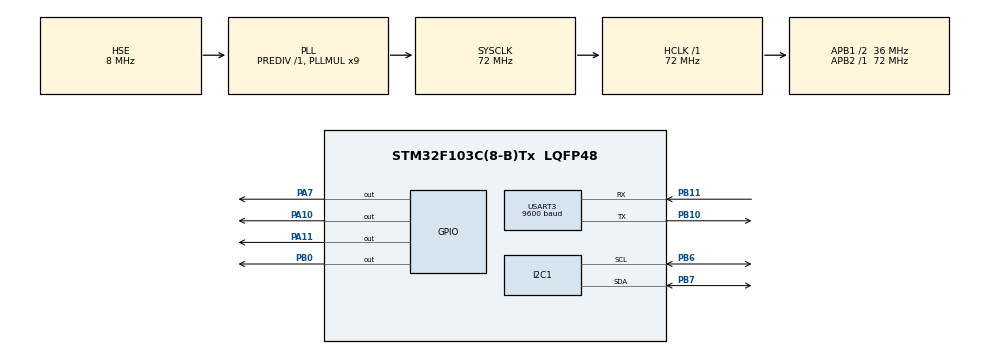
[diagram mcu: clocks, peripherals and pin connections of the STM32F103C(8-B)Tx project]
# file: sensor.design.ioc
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Dma.Request0=USART3_RX
Dma.Request1=USART3_TX
Dma.USART3_RX.0.Direction=DMA_PERIPH_TO_MEMORY
Dma.USART3_RX.0.Instance=DMA1_Channel3
Dma.USART3_RX.0.MemDataAlignment=DMA_MDATAALIGN_BYTE
Dma.USART3_RX.0.MemInc=DMA_MINC_ENABLE
Dma.USART3_RX.0.Mode=DMA_NORMAL
Dma.USART3_RX.0.PeriphDataAlignment=DMA_PDATAALIGN_BYTE
Dma.USART3_RX.0.PeriphInc=DMA_PINC_DISABLE
Dma.USART3_RX.0.Priority=DMA_PRIORITY_LOW
Dma.USART3_TX.1.Direction=DMA_MEMORY_TO_PERIPH
Dma.USART3_TX.1.Instance=DMA1_Channel2
Dma.USART3_TX.1.MemDataAlignment=DMA_MDATAALIGN_BYTE
Dma.USART3_TX.1.MemInc=DMA_MINC_ENABLE
Dma.USART3_TX.1.Mode=DMA_NORMAL
Dma.USART3_TX.1.PeriphDataAlignment=DMA_PDATAALIGN_BYTE
Dma.USART3_TX.1.PeriphInc=DMA_PINC_DISABLE
Dma.USART3_TX.1.Priority=DMA_PRIORITY_LOW
I2C1.I2C_Mode=I2C_Fast
Mcu.Family=STM32F1
Mcu.Name=STM32F103C(8-B)Tx
Mcu.Package=LQFP48
NVIC.DMA1_Channel2_IRQn=true\:0\:0\:false\:false\:true\:false\:true\:true
NVIC.DMA1_Channel3_IRQn=true\:0\:0\:false\:false\:true\:false\:true\:true
NVIC.PriorityGroup=NVIC_PRIORITYGROUP_4
NVIC.RTC_Alarm_IRQn=true\:0\:0\:false\:false\:true\:true\:true\:true
NVIC.USART3_IRQn=true\:0\:0\:false\:false\:true\:true\:true\:true
PA10.GPIO_ModeDefaultOutputPP=GPIO_MODE_OUTPUT_OD
PA10.GPIO_PuPd=GPIO_PULLUP
PA10.Signal=GPIO_Output
PA11.GPIO_ModeDefaultOutputPP=GPIO_MODE_OUTPUT_PP
PA11.GPIO_PuPd=GPIO_NOPULL
PA11.Signal=GPIO_Output
PA13.Mode=Serial_Wire
PA13.Signal=SYS_JTMS-SWDIO
PA14.Mode=Serial_Wire
PA14.Signal=SYS_JTCK-SWCLK
PA7.GPIO_ModeDefaultOutputPP=GPIO_MODE_OUTPUT_PP
PA7.Signal=GPIO_Output
PB0.GPIO_ModeDefaultOutputPP=GPIO_MODE_OUTPUT_PP
PB0.Signal=GPIO_Output
PB10.Mode=Asynchronous
PB10.Signal=USART3_TX
PB11.Mode=Asynchronous
PB11.Signal=USART3_RX
PB6.Mode=I2C
PB6.Signal=I2C1_SCL
PB7.Mode=I2C
PB7.Signal=I2C1_SDA
PC14-OSC32_IN.Mode=LSE-External-Oscillator
PC14-OSC32_IN.Signal=RCC_OSC32_IN
PC15-OSC32_OUT.Mode=LSE-External-Oscillator
PC15-OSC32_OUT.Signal=RCC_OSC32_OUT
PD0-OSC_IN.Mode=HSE-External-Oscillator
PD0-OSC_IN.Signal=RCC_OSC_IN
PD1-OSC_OUT.Mode=HSE-External-Oscillator
PD1-OSC_OUT.Signal=RCC_OSC_OUT
ProjectManager.HeapSize=0x200
ProjectManager.StackSize=0x400
ProjectManager.TargetToolchain=CMake
RCC.AHBFreq_Value=72000000
RCC.APB1CLKDivider=RCC_HCLK_DIV2
RCC.APB1Freq_Value=36000000
RCC.APB1TimFreq_Value=72000000
RCC.APB2Freq_Value=72000000
RCC.APB2TimFreq_Value=72000000
RCC.HCLKFreq_Value=72000000
RCC.PLLMUL=RCC_PLL_MUL9
RCC.PLLSourceVirtual=RCC_PLLSOURCE_HSE
RCC.RTCClockSelection=RCC_RTCCLKSOURCE_LSE
RCC.SYSCLKFreq_VALUE=72000000
RCC.SYSCLKSource=RCC_SYSCLKSOURCE_PLLCLK
RCC.USBFreq_Value=72000000
RTC.OutPut=RTC_OUTPUTSOURCE_ALARM
USART3.BaudRate=9600
USART3.VirtualMode=VM_ASYNC
VP_RTC_VS_RTC_Activate.Mode=RTC_Enabled
board=custom

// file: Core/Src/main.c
/* USER CODE BEGIN Header */
/**
  ******************************************************************************
  * @file           : main.c
  * @brief          : Main program body
  ******************************************************************************
  * @attention
  *
  * Copyright (c) 2026 STMicroelectronics.
  * All rights reserved.
  *
  * This software is licensed under terms that can be found in the LICENSE file
  * in the root directory of this software component.
  * If no LICENSE file comes with this software, it is provided AS-IS.
  *
  ******************************************************************************
  */
/* USER CODE END Header */
#include "main.h"
#include "dma.h"
#include "i2c.h"
#include "rtc.h"
#include "usart.h"
#include "gpio.h"

/* USER CODE BEGIN Includes */
#include "string.h"
#include "stdio.h"
#include "font.h"
#include "aht20.h"
#include "oled.h"
#include "light.h"
/* USER CODE END Includes */

/* USER CODE BEGIN PV */
extern RTC_HandleTypeDef hrtc;           /* RTC句柄（定义在 rtc.c） */
volatile uint8_t rtc_alarm_wakeup = 0;   /* RTC闹钟唤醒标志 */
/* USER CODE END PV */

void SystemClock_Config(void);
/* USER CODE BEGIN PFP */
static void Enter_Stop_Mode(uint32_t seconds); /* 进入 Stop 模式，seconds 后唤醒 */
/* USER CODE END PFP */

/* USER CODE BEGIN 0 */
float temp=0;//温度
int humi=0;//湿度
int light=0;//光照
char oled_buf[50];   // 专用于屏幕显示的数组
char uart_buf[60];   // 专用于串口 DMA 发送的数组（适当放大防止溢出）
uint8_t read_flag=0;//读取标志
int timenow=0;//当前时间

/**
 * @brief  进入 Stop 低功耗模式，seconds 秒后由 RTC 闹钟唤醒
 * @param  seconds  睡眠秒数
 *
 * F103 RTC 特点：
 *   - 32位自由计数器，LSE 32.768kHz / (AsynchPrediv+1) = 1Hz
 *   - 闹钟寄存器 = 绝对计数值（当前值 + seconds）
 *   - 闹钟中断经 EXTI Line 17 路由到 NVIC
 *
 * 流程：
 *   1. 读取当前 RTC 计数值，计算闹钟目标值
 *   2. 写入 RTC 闹钟寄存器并使能中断
 *   3. 暂停 SysTick（防止 SysTick 中断立即唤醒）
 *   4. 进入 Stop 模式（WFI 挂起）
 *   5. 唤醒后重启 PLL/时钟，恢复 SysTick
 */
static void Enter_Stop_Mode(uint32_t seconds)
{
    /* --- 1. 设置 RTC 闹钟 --- */
    /* F103 没有 HAL_RTCEx_GetSecond，直接读 RTC 计数寄存器 */
    uint32_t cnt = (uint32_t)(RTC->CNTH << 16) | RTC->CNTL;
    uint32_t alarm_val = cnt + seconds;

    /* 等待 RTC 上一次写操作完成（RTOFF=1） */
    while (__HAL_RTC_ALARM_GET_FLAG(&hrtc, RTC_FLAG_RTOFF) == RESET);

    /* 进入 RTC 配置模式 */
    SET_BIT(RTC->CRL, RTC_CRL_CNF);
    /* 写入闹钟寄存器（高16位 + 低16位） */
    WRITE_REG(RTC->ALRH, (alarm_val >> 16) & 0xFFFF);
    WRITE_REG(RTC->ALRL,  alarm_val        & 0xFFFF);
    /* 退出配置模式 */
    CLEAR_BIT(RTC->CRL, RTC_CRL_CNF);
    /* 等待写完成 */
    while (__HAL_RTC_ALARM_GET_FLAG(&hrtc, RTC_FLAG_RTOFF) == RESET);

    /* 使能 RTC 闹钟中断 + EXTI Line17（RTC Alarm 唤醒线） */
    __HAL_RTC_ALARM_ENABLE_IT(&hrtc, RTC_IT_ALRA);
    __HAL_RTC_ALARM_EXTI_ENABLE_IT();
    __HAL_RTC_ALARM_EXTI_ENABLE_RISING_EDGE();

    /* --- 2. 清除唤醒标志 --- */
    __HAL_PWR_CLEAR_FLAG(PWR_FLAG_WU);
    rtc_alarm_wakeup = 0;

    /* --- 3. 暂停 SysTick（Stop 模式下 SysTick 仍在计时会立即唤醒） --- */
    HAL_SuspendTick();

    /* --- 4. 进入 Stop 模式（低功耗调压器，WFI 等待中断） --- */
    HAL_PWR_EnterSTOPMode(PWR_LOWPOWERREGULATOR_ON, PWR_STOPENTRY_WFI);

    /* ===== CPU 从此处被唤醒 ===== */

    /* --- 5. 重新配置系统时钟（Stop 唤醒后自动回退到 HSI，需重启 PLL） --- */
    SystemClock_Config();

    /* --- 6. 恢复 SysTick --- */
    HAL_ResumeTick();

    /* --- 7. 清除 RTC 闹钟标志和 EXTI 挂起位 --- */
    __HAL_RTC_ALARM_CLEAR_FLAG(&hrtc, RTC_FLAG_ALRAF);
    __HAL_RTC_ALARM_EXTI_CLEAR_FLAG();
    __HAL_RTC_ALARM_DISABLE_IT(&hrtc, RTC_IT_ALRA);
}

/* USER CODE END 0 */

int main(void)
{

  /* MCU Configuration--------------------------------------------------------*/

  /* Reset of all peripherals, Initializes the Flash interface and the Systick. */
  HAL_Init();

  /* Configure the system clock */
  SystemClock_Config();

  /* Initialize all configured peripherals */
  MX_GPIO_Init();
  MX_DMA_Init();
  MX_I2C1_Init();
  MX_USART3_UART_Init();
  MX_RTC_Init();
  /* USER CODE BEGIN 2 */
  HAL_Delay(20);
  OLED_Init();
  AHT20_Init();
  /* 释放软件 I2C 总线（PA10 SDA, PA11 SCL 确保空闲高电平） */
  HAL_GPIO_WritePin(GPIOA, GPIO_PIN_10|GPIO_PIN_11, GPIO_PIN_SET);
  HAL_Delay(10);
  /* USER CODE END 2 */

  /* Infinite loop */
  /* USER CODE BEGIN WHILE */
  while (1)
  {
    /* 1. 采集温湿度光照数据 */
    AHT20_Measure();
    temp = AHT20_Temperature();
    humi = AHT20_Humidity();
    light = Light_Get();

    /* 2. OLED 显示 */
    OLED_NewFrame();
    sprintf(oled_buf, "温度=%.1f℃ ", temp);
    OLED_PrintString(0, 0, oled_buf, &font16x16, OLED_COLOR_NORMAL);
    sprintf(oled_buf, "湿度=%d%%", humi);
    OLED_PrintString(0, 20, oled_buf, &font16x16, OLED_COLOR_NORMAL);
    sprintf(oled_buf, "光照=%d lx", light);
    OLED_PrintString(0, 40, oled_buf, &font16x16, OLED_COLOR_NORMAL);;
    OLED_ShowFrame();

    /* 3. 串口发送（必须等 DMA 发完再进 Stop，否则 UART 时钟关闭后数据丢失） */
    // sprintf(uart_buf, "温度：%.1f℃  湿度：%d%%\r\n 光照：%d lx", temp, humi, light);
    if (temp>=25.0&&temp<=35.0&&humi>=45&&humi<=70&&light>=1000)
    {
      sprintf(uart_buf, "normal temp=%.1f C humi=%d%% l=%d lx\r\n", temp, humi, light);
      HAL_GPIO_WritePin(GPIOB, GPIO_PIN_0, GPIO_PIN_RESET);
      HAL_GPIO_WritePin(GPIOA, GPIO_PIN_7, GPIO_PIN_SET);
    }
    else
    {
      sprintf(uart_buf, "warning temp=%.1f C humi=%d%% l=%d lx\r\n", temp, humi, light);
      HAL_GPIO_WritePin(GPIOB, GPIO_PIN_0, GPIO_PIN_SET);
      HAL_GPIO_WritePin(GPIOA, GPIO_PIN_7, GPIO_PIN_RESET);
    }
    // sprintf(uart_buf, "temp %.1f c humi %d%%  light %d lx\r\n", temp, humi, light);//手机接收
    HAL_UART_Transmit_DMA(&huart3, (uint8_t*)uart_buf, strlen(uart_buf));
    /* DMA 是非阻塞的！必须阻塞等到发送完成再进 Stop */
    while (HAL_UART_GetState(&huart3) != HAL_UART_STATE_READY)
    {
        __NOP();  /* 空转等待 DMA 传输完成 */
    }

    /* 4. 进入 Stop 低功耗模式，5 秒后 RTC 闹钟唤醒
     *    修改 Enter_Stop_Mode(5) 的参数即可调整睡眠时长 */
    Enter_Stop_Mode(5);

    /* 唤醒后继续循环（SystemClock 已在 Enter_Stop_Mode 内重新配置好） */
    }
    /* USER CODE END WHILE */

}

void SystemClock_Config(void)
{
  RCC_OscInitTypeDef RCC_OscInitStruct = {0};
  RCC_ClkInitTypeDef RCC_ClkInitStruct = {0};
  RCC_PeriphCLKInitTypeDef PeriphClkInit = {0};

  /** Initializes the RCC Oscillators according to the specified parameters
  * in the RCC_OscInitTypeDef structure.
  */
  RCC_OscInitStruct.OscillatorType = RCC_OSCILLATORTYPE_HSE|RCC_OSCILLATORTYPE_LSE;
  RCC_OscInitStruct.HSEState = RCC_HSE_ON;
  RCC_OscInitStruct.HSEPredivValue = RCC_HSE_PREDIV_DIV1;
  RCC_OscInitStruct.LSEState = RCC_LSE_ON;
  RCC_OscInitStruct.HSIState = RCC_HSI_ON;
  RCC_OscInitStruct.PLL.PLLState = RCC_PLL_ON;
  RCC_OscInitStruct.PLL.PLLSource = RCC_PLLSOURCE_HSE;
  RCC_OscInitStruct.PLL.PLLMUL = RCC_PLL_MUL9;
  if (HAL_RCC_OscConfig(&RCC_OscInitStruct) != HAL_OK)
  {
    Error_Handler();
  }

  /** Initializes the CPU, AHB and APB buses clocks
  */
  RCC_ClkInitStruct.ClockType = RCC_CLOCKTYPE_HCLK|RCC_CLOCKTYPE_SYSCLK
                              |RCC_CLOCKTYPE_PCLK1|RCC_CLOCKTYPE_PCLK2;
  RCC_ClkInitStruct.SYSCLKSource = RCC_SYSCLKSOURCE_PLLCLK;
  RCC_ClkInitStruct.AHBCLKDivider = RCC_SYSCLK_DIV1;
  RCC_ClkInitStruct.APB1CLKDivider = RCC_HCLK_DIV2;
  RCC_ClkInitStruct.APB2CLKDivider = RCC_HCLK_DIV1;

  if (HAL_RCC_ClockConfig(&RCC_ClkInitStruct, FLASH_LATENCY_2) != HAL_OK)
  {
    Error_Handler();
  }
  PeriphClkInit.PeriphClockSelection = RCC_PERIPHCLK_RTC;
  PeriphClkInit.RTCClockSelection = RCC_RTCCLKSOURCE_LSE;
  if (HAL_RCCEx_PeriphCLKConfig(&PeriphClkInit) != HAL_OK)
  {
    Error_Handler();
  }
}

void Error_Handler(void)
{
  __disable_irq();
  while (1)
  {
  }
}
